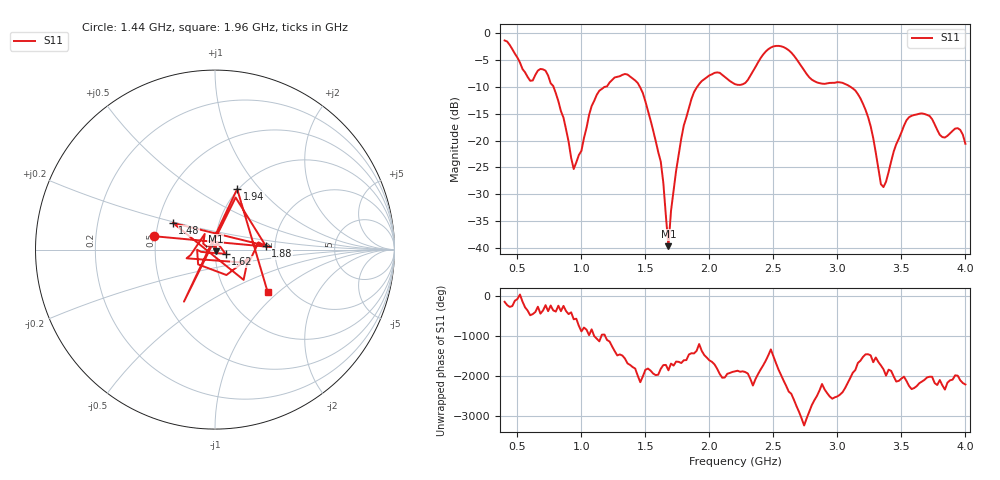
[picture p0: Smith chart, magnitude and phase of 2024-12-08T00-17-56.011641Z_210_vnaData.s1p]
!Created with skrf (http://scikit-rf.org).
# Hz S RI R 50.0
!freq ReS11 ImS11
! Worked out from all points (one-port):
!   181 points, 400 MHz to 4 GHz, reference 50 ohm
!   lowest |S11| = -39.7 dB at 1.68 GHz (marker M1), VSWR 1.02, Z = 50.5 - j0.901 ohm
!   |S11| at or under -10 dB: 782.8 MHz to 1.179 GHz (395.8 MHz wide, 40.4 % of centre); 1.458 GHz to 1.903 GHz (445.6 MHz wide, 26.5 % of centre); 3.105 GHz to end of sweep
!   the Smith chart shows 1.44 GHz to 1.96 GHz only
!   S11 on the Smith chart (normalised r, x): 1.44 GHz: 0.49, +0.08; 1.48 GHz: 0.60, +0.19; 1.62 GHz: 1.12, -0.05; 1.88 GHz: 1.79, +0.08; 1.94 GHz: 0.99, +0.77; 1.96 GHz: 1.55, -0.84
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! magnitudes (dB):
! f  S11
! 400 MHz  -1.3
! 600 MHz  -8.8
! 720 MHz  -6.9
! 860 MHz  -15.7
! 940 MHz  -25.3
! 1.12 GHz  -11.4
! 1.3 GHz  -8.0
! 1.44 GHz  -9.2
! 1.48 GHz  -11.1
! 1.62 GHz  -23.9
! 1.68 GHz  -39.7
! 1.7 GHz  -33.1
! 1.76 GHz  -22.7
! 1.88 GHz  -10.9
! 1.94 GHz  -8.9
! 1.96 GHz  -8.5
! 2.2 GHz  -9.5
! 2.48 GHz  -2.6
! 2.66 GHz  -4.1
! 2.82 GHz  -8.9
! 3.1 GHz  -9.9
! 3.24 GHz  -15.6
! 3.36 GHz  -28.7
! 3.56 GHz  -15.6
! 3.72 GHz  -15.4
! 3.82 GHz  -19.3
! 3.94 GHz  -17.7
! 4 GHz  -20.6
